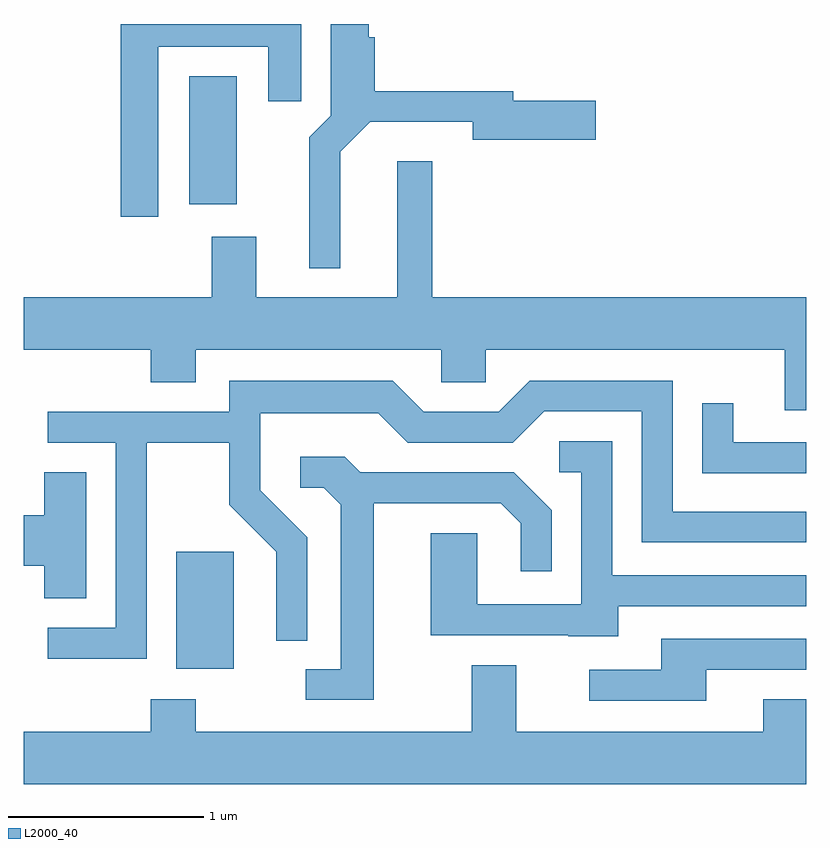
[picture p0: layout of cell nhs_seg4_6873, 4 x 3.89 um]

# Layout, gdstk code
import gdstk
lib = gdstk.Library(unit=1e-6, precision=1e-09)
def R(c, l, rs):  # rectangles x0, y0, x1, y1
    for r in rs: c.add(gdstk.rectangle(r[:2], r[2:], *l))
def P(c, l, *ps):  # polygons
    for p in ps: c.add(gdstk.Polygon(p, *l))
L2000_40 = (2000, 40)

nhs_seg4_6873 = lib.new_cell('nhs_seg4_6873')
R(nhs_seg4_6873, L2000_40, [(388.391,1268.686,388.684,1269.284), (388.456,1271.061,388.699,1271.714)])
P(nhs_seg4_6873, L2000_40, [(389.229,1271.329),(389.382,1271.481),(389.906,1271.481),(389.906,1271.391),(390.534,1271.391),(390.534,1271.589),(390.114,1271.589),(390.114,1271.639),(389.404,1271.639),(389.404,1271.914),(389.374,1271.914),(389.374,1271.982),(389.181,1271.982),(389.181,1271.512),(389.071,1271.402),(389.071,1270.733),(389.229,1270.733)],
  [(388.299,1271.866),(388.861,1271.866),(388.861,1271.588),(389.029,1271.588),(389.029,1271.982),(388.106,1271.982),(388.106,1270.996),(388.299,1270.996)],
  [(391.611,1270.584),(389.699,1270.584),(389.699,1271.279),(389.521,1271.279),(389.521,1270.584),(388.799,1270.584),(388.799,1270.894),(388.571,1270.894),(388.571,1270.584),(387.611,1270.584),(387.611,1270.316),(388.261,1270.316),(388.261,1270.151),(388.489,1270.151),(388.489,1270.316),(389.746,1270.316),(389.746,1270.151),(389.974,1270.151),(389.974,1270.316),(391.501,1270.316),(391.501,1270.006),(391.611,1270.006)],
  [(388.239,1269.841),(388.661,1269.841),(388.661,1269.524),(388.901,1269.284),(388.901,1268.828),(389.059,1268.828),(389.059,1269.357),(388.819,1269.597),(388.819,1269.991),(389.424,1269.991),(389.574,1269.841),(390.112,1269.841),(390.272,1270.001),(390.771,1270.001),(390.771,1269.331),(391.611,1269.331),(391.611,1269.489),(390.929,1269.489),(390.929,1270.159),(390.199,1270.159),(390.039,1269.999),(389.657,1269.999),(389.497,1270.159),(388.661,1270.159),(388.661,1269.999),(387.733,1269.999),(387.733,1269.841),(388.081,1269.841),(388.081,1268.894),(387.733,1268.894),(387.733,1268.736),(388.239,1268.736)],
  [(391.611,1269.844),(391.239,1269.844),(391.239,1270.043),(391.081,1270.043),(391.081,1269.686),(391.611,1269.686)],
  [(390.649,1269.006),(391.611,1269.006),(391.611,1269.164),(390.619,1269.164),(390.619,1269.849),(390.348,1269.849),(390.348,1269.691),(390.461,1269.691),(390.461,1269.014),(389.929,1269.014),(389.929,1269.379),(389.691,1269.379),(389.691,1268.856),(390.395,1268.856),(390.395,1268.851),(390.649,1268.851)],
  [(389.399,1269.531),(390.049,1269.531),(390.151,1269.429),(390.151,1269.183),(390.309,1269.183),(390.309,1269.497),(390.117,1269.689),(389.332,1269.689),(389.252,1269.769),(389.023,1269.769),(389.023,1269.611),(389.144,1269.611),(389.231,1269.524),(389.231,1268.684),(389.053,1268.684),(389.053,1268.526),(389.399,1268.526)],
  [(387.929,1269.689),(387.716,1269.689),(387.716,1269.469),(387.611,1269.469),(387.611,1269.211),(387.716,1269.211),(387.716,1269.046),(387.929,1269.046)],
  [(391.099,1268.681),(391.611,1268.681),(391.611,1268.839),(390.871,1268.839),(390.871,1268.679),(390.503,1268.679),(390.503,1268.521),(391.099,1268.521)],
  [(391.611,1268.529),(391.391,1268.529),(391.391,1268.364),(390.129,1268.364),(390.129,1268.704),(389.901,1268.704),(389.901,1268.364),(388.489,1268.364),(388.489,1268.529),(388.261,1268.529),(388.261,1268.364),(387.611,1268.364),(387.611,1268.096),(391.611,1268.096)])

lib.write_gds('nhs_seg4_6873.gds')
